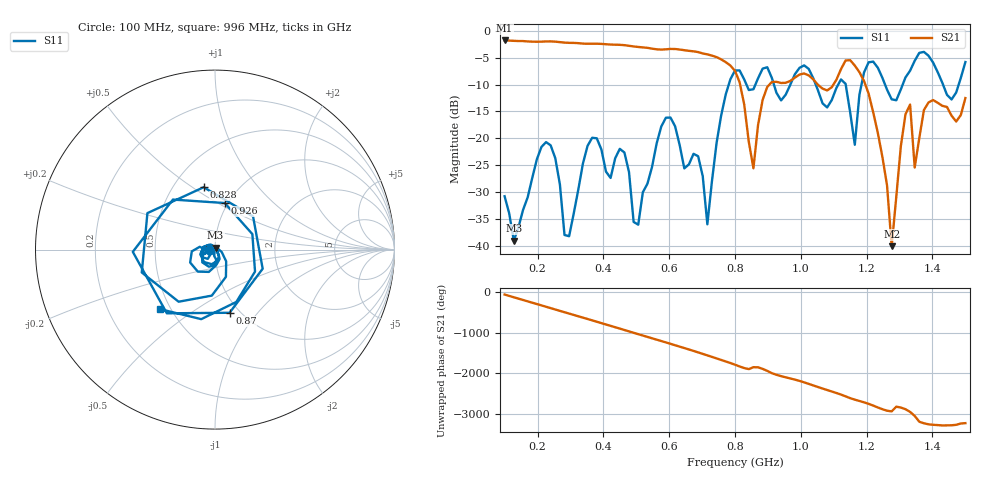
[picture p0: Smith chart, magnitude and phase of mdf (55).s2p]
! NanoVNA-App
! Date: 2025-09-25 15:38:51
! Start: 100MHz Stop: 1,5GHz Points: 101
! S-Parameter data: F S11 S21 S12 S22
# Hz S RI R 50
!  Frequency  S11_Real  S11_Imag  S21_Real  S21_Imag  S12_Real  S12_Imag  S22_Real  S22_Imag
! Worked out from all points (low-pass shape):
!   101 points, 100 MHz to 1.5 GHz, reference 50 ohm
!   highest |S21| = -1.80 dB at 100 MHz (marker M1); lowest = -40.0 dB at 1.276 GHz (marker M2)
!   |S21| within 3 dB of the highest: start of sweep to 739.3 MHz
!   lowest |S11| = -39.0 dB at 128 MHz (marker M3), VSWR 1.02, Z = 50.3 + j1.07 ohm
!   |S11| at or under -10 dB: start of sweep to 781.1 MHz; 918.2 MHz to 968.3 MHz (50.03 MHz wide, 5.3 % of centre); 1.045 GHz to 1.114 GHz (68.34 MHz wide, 6.33 % of centre) (the widest 3 of 7)
!   S12 and S22 are empty: the file has one direction only
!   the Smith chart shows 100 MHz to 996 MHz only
!   S11 on the Smith chart (normalised r, x): 100 MHz: 0.94, -0.01; 828 MHz: 0.70, +0.56; 870 MHz: 0.90, -0.73; 926 MHz: 0.97, +0.54; 996 MHz: 0.44, -0.36
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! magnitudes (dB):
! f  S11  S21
! 100 MHz  -30.8  -1.8
! 128 MHz  -39.0  -1.9
! 212 MHz  -21.6  -2.0
! 282 MHz  -37.9  -2.2
! 338 MHz  -24.7  -2.4
! 464 MHz  -22.6  -2.7
! 506 MHz  -36.0  -3.0
! 576 MHz  -17.8  -3.5
! 716 MHz  -36.0  -4.4
! 800 MHz  -7.4  -7.5
! 828 MHz  -9.0  -13.7
! 856 MHz  -10.9  -25.6
! 870 MHz  -8.8  -17.5
! 926 MHz  -11.5  -9.5
! 996 MHz  -6.9  -8.1
! 1.038 GHz  -8.9  -9.0
! 1.164 GHz  -21.2  -6.5
! 1.192 GHz  -7.8  -9.3
! 1.276 GHz  -12.7  -40.0
! 1.332 GHz  -7.4  -13.7
! 1.346 GHz  -5.6  -25.4
! 1.5 GHz  -5.8  -12.5
